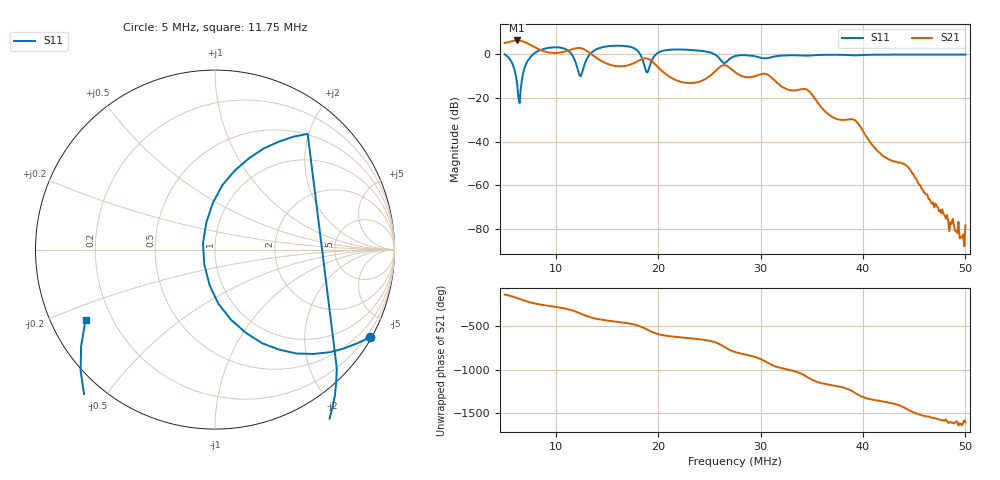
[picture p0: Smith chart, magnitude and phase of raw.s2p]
! S11/S21 only; reverse parameters are placeholders. Device calibration unverified.
! NanoVNA F V2 profile | COM3 | 2026-09-08T11:53:50.4517263-04:00 | device calibration unverified
# HZ S RI R 50
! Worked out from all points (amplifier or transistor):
!   401 points, 5 MHz to 50 MHz, reference 50 ohm
!   highest |S21| = 6.3 dB at 6.237 MHz (marker M1)
!   |S21| within 3 dB of that: start of sweep to 7.885 MHz
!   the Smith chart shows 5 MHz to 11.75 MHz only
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5000000  0.8651 -0.4886  -1.362 -1.181  0 0  0 0
6237500  -0.0305 -0.1969  -2.056 -0.0144  0 0  0 0
7250000  0.3545 0.6011  -1.333 1.138  0 0  0 0
7812500  0.6748 -0.7415  -0.7915 1.259  0 0  0 0
1.0175e7  -0.1002 -1.426  0.2588 1.039  0 0  0 0
1.16375e7  -0.7458 -0.5369  1.029 0.8004  0 0  0 0
1.25375e7  0.1077 0.3443  1.35 -0.0708  0 0  0 0
1.3325e7  0.9894 0.00584  0.8417 -0.6459  0 0  0 0
1.41125e7  1.23 -0.5334  0.3895 -0.6782  0 0  0 0
1.72625e7  0.4325 -1.403  -0.2287 -0.5293  0 0  0 0
1.79375e7  -0.1479 -1.214  -0.4518 -0.5054  0 0  0 0
1.86125e7  -0.5368 -0.2351  -0.7566 -0.2389  0 0  0 0
1.9175e7  0.1797 0.5058  -0.7157 0.2015  0 0  0 0
2.0075e7  1.086 0.1963  -0.2717 0.393  0 0  0 0
2.17625e7  1.22 -0.381  -0.0224 0.2518  0 0  0 0
2.44625e7  0.9522 -0.6765  0.1217 0.2281  0 0  0 0
2.62625e7  0.4975 -0.4379  0.547 -0.0496  0 0  0 0
2.75e7  0.849 -0.3083  0.0843 -0.3784  0 0  0 0
3.03125e7  0.6819 -0.4232  -0.3569 -0.0154  0 0  0 0
3.50375e7  0.6902 -0.6334  0.0938 -0.0695  0 0  0 0
4.2575e7  0.4435 -0.867  0.00184 0.00337  0 0  0 0
5e7  0.1587 -0.9648  -0.000115 -4.1e-05  0 0  0 0
